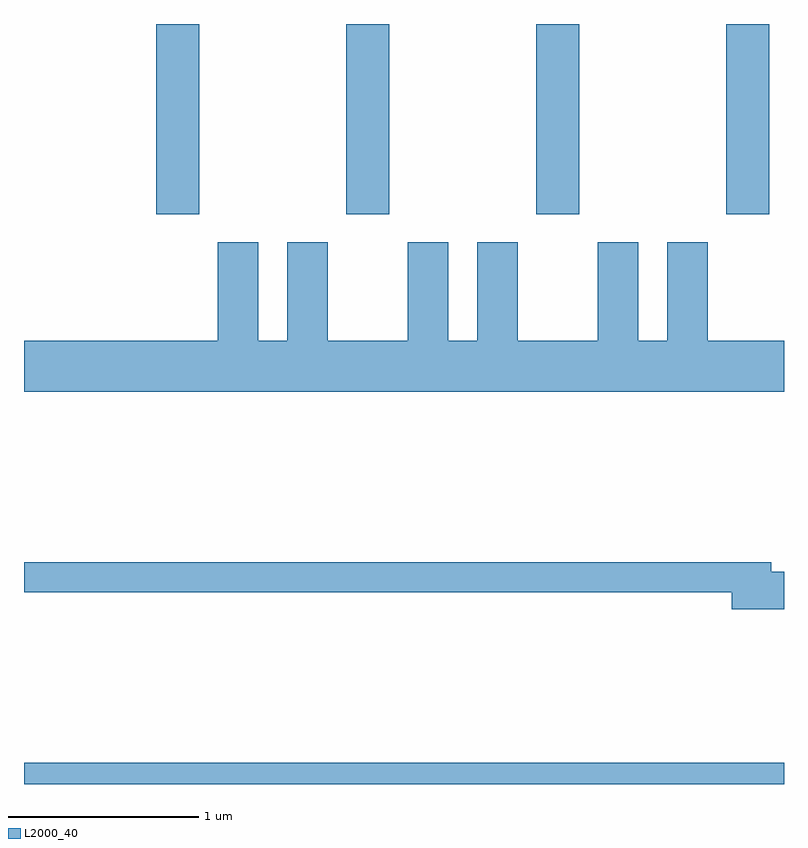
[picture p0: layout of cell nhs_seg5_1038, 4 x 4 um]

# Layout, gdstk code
import gdstk
lib = gdstk.Library(unit=1e-6, precision=1e-09)
def R(c, l, rs):  # rectangles x0, y0, x1, y1
    for r in rs: c.add(gdstk.rectangle(r[:2], r[2:], *l))
def A(c, l, x, y, w, h, nx, ny, dx, dy):  # array of equal rectangles
    R(c, l, [(x+i*dx, y+j*dy, x+i*dx+w, y+j*dy+h) for i in range(nx) for j in range(ny)])
def P(c, l, *ps):  # polygons
    for p in ps: c.add(gdstk.Polygon(p, *l))
L2000_40 = (2000, 40)

nhs_seg5_1038 = lib.new_cell('nhs_seg5_1038')
A(nhs_seg5_1038, L2000_40, 216.306, 1451.071, 0.228, 1.001, 4, 1, 1, 0)
R(nhs_seg5_1038, L2000_40, [(215.611,1448.072,219.611,1448.184)])
P(nhs_seg5_1038, L2000_40, [(219.611,1450.404),(219.209,1450.404),(219.209,1450.924),(218.996,1450.924),(218.996,1450.404),(218.844,1450.404),(218.844,1450.924),(218.631,1450.924),(218.631,1450.404),(218.209,1450.404),(218.209,1450.924),(217.996,1450.924),(217.996,1450.404),(217.844,1450.404),(217.844,1450.924),(217.631,1450.924),(217.631,1450.404),(217.209,1450.404),(217.209,1450.924),(216.996,1450.924),(216.996,1450.404),(216.844,1450.404),(216.844,1450.924),(216.631,1450.924),(216.631,1450.404),(215.611,1450.404),(215.611,1450.136),(219.611,1450.136)],
  [(219.611,1449.189),(219.544,1449.189),(219.544,1449.239),(215.611,1449.239),(215.611,1449.081),(219.336,1449.081),(219.336,1448.991),(219.611,1448.991)])

lib.write_gds('nhs_seg5_1038.gds')
